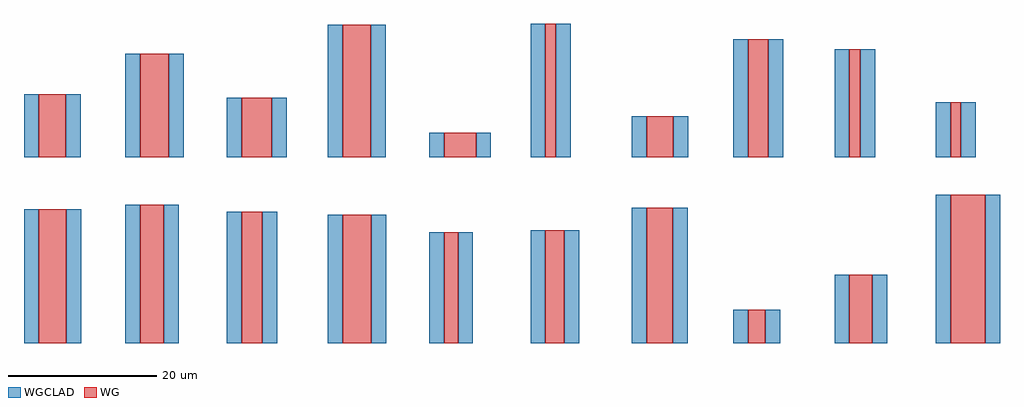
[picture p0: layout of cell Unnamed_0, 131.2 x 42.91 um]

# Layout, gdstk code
from math import pi, radians
import gdstk
lib = gdstk.Library(unit=1e-6, precision=1e-09)
def R(c, l, rs):  # rectangles x0, y0, x1, y1
    for r in rs: c.add(gdstk.rectangle(r[:2], r[2:], *l))
WG = (1, 0)
WGCLAD = (111, 0)

straight_cssym_f7fe636c_ = lib.new_cell('straight_CSsym_f7fe636c_4290_L3306')
R(straight_cssym_f7fe636c_, WG, [(0,-2.145,3.306,2.145)])
R(straight_cssym_f7fe636c_, WGCLAD, [(0,-4.145,3.306,-2.145), (0,2.145,3.306,4.145)])

c_straight_cssym_f7fe636c_ = lib.new_cell('straight_CSsym_f7fe636c_3782_L17847')
R(c_straight_cssym_f7fe636c_, WG, [(0,-1.891,17.847,1.891)])
R(c_straight_cssym_f7fe636c_, WGCLAD, [(0,-3.891,17.847,-1.891), (0,1.891,17.847,3.891)])

c_straight_cssym_f7fe636c__ = lib.new_cell('straight_CSsym_f7fe636c_3680_L17992')
R(c_straight_cssym_f7fe636c__, WG, [(0,-1.84,17.992,1.84)])
R(c_straight_cssym_f7fe636c__, WGCLAD, [(0,-3.84,17.992,-1.84), (0,1.84,17.992,3.84)])

c_straight_cssym_f7fe636c___ = lib.new_cell('straight_CSsym_f7fe636c_3188_L18605')
R(c_straight_cssym_f7fe636c___, WG, [(0,-1.594,18.605,1.594)])
R(c_straight_cssym_f7fe636c___, WGCLAD, [(0,-3.594,18.605,-1.594), (0,1.594,18.605,3.594)])

c_straight_cssym_f7fe636c____ = lib.new_cell('straight_CSsym_f7fe636c_2780_L17634')
R(c_straight_cssym_f7fe636c____, WG, [(0,-1.39,17.634,1.39)])
R(c_straight_cssym_f7fe636c____, WGCLAD, [(0,-3.39,17.634,-1.39), (0,1.39,17.634,3.39)])

c_straight_cssym_f7fe636c_____ = lib.new_cell('straight_CSsym_f7fe636c_3818_L17267')
R(c_straight_cssym_f7fe636c_____, WG, [(0,-1.909,17.267,1.909)])
R(c_straight_cssym_f7fe636c_____, WGCLAD, [(0,-3.909,17.267,-1.909), (0,1.909,17.267,3.909)])

c_straight_cssym_f7fe636c______ = lib.new_cell('straight_CSsym_f7fe636c_1872_L14891')
R(c_straight_cssym_f7fe636c______, WG, [(0,-0.936,14.891,0.936)])
R(c_straight_cssym_f7fe636c______, WGCLAD, [(0,-2.936,14.891,-0.936), (0,0.936,14.891,2.936)])

c_straight_cssym_f7fe636c_______ = lib.new_cell('straight_CSsym_f7fe636c_2520_L15147')
R(c_straight_cssym_f7fe636c_______, WG, [(0,-1.26,15.147,1.26)])
R(c_straight_cssym_f7fe636c_______, WGCLAD, [(0,-3.26,15.147,-1.26), (0,1.26,15.147,3.26)])

c_straight_cssym_f7fe636c________ = lib.new_cell('straight_CSsym_f7fe636c_1372_L17959')
R(c_straight_cssym_f7fe636c________, WG, [(0,-0.686,17.959,0.686)])
R(c_straight_cssym_f7fe636c________, WGCLAD, [(0,-2.686,17.959,-0.686), (0,0.686,17.959,2.686)])

c_straight_cssym_f7fe636c_________ = lib.new_cell('straight_CSsym_f7fe636c_3514_L18168')
R(c_straight_cssym_f7fe636c_________, WG, [(0,-1.757,18.168,1.757)])
R(c_straight_cssym_f7fe636c_________, WGCLAD, [(0,-3.757,18.168,-1.757), (0,1.757,18.168,3.757)])

c_straight_cssym_f7fe636c__________ = lib.new_cell('straight_CSsym_f7fe636c_3586_L5547')
R(c_straight_cssym_f7fe636c__________, WG, [(0,-1.793,5.547,1.793)])
R(c_straight_cssym_f7fe636c__________, WGCLAD, [(0,-3.793,5.547,-1.793), (0,1.793,5.547,3.793)])

c_straight_cssym_f7fe636c___________ = lib.new_cell('straight_CSsym_f7fe636c_2290_L4455')
R(c_straight_cssym_f7fe636c___________, WG, [(0,-1.145,4.455,1.145)])
R(c_straight_cssym_f7fe636c___________, WGCLAD, [(0,-3.145,4.455,-1.145), (0,1.145,4.455,3.145)])

c_straight_cssym_f7fe636c____________ = lib.new_cell('straight_CSsym_f7fe636c_2718_L15863')
R(c_straight_cssym_f7fe636c____________, WG, [(0,-1.359,15.863,1.359)])
R(c_straight_cssym_f7fe636c____________, WGCLAD, [(0,-3.359,15.863,-1.359), (0,1.359,15.863,3.359)])

c_straight_cssym_f7fe636c_____________ = lib.new_cell('straight_CSsym_f7fe636c_3080_L9185')
R(c_straight_cssym_f7fe636c_____________, WG, [(0,-1.54,9.185,1.54)])
R(c_straight_cssym_f7fe636c_____________, WGCLAD, [(0,-3.54,9.185,-1.54), (0,1.54,9.185,3.54)])

c_straight_cssym_f7fe636c______________ = lib.new_cell('straight_CSsym_f7fe636c_1460_L14573')
R(c_straight_cssym_f7fe636c______________, WG, [(0,-0.73,14.573,0.73)])
R(c_straight_cssym_f7fe636c______________, WGCLAD, [(0,-2.73,14.573,-0.73), (0,0.73,14.573,2.73)])

c_straight_cssym_f7fe636c_______________ = lib.new_cell('straight_CSsym_f7fe636c_4620_L19951')
R(c_straight_cssym_f7fe636c_______________, WG, [(0,-2.31,19.951,2.31)])
R(c_straight_cssym_f7fe636c_______________, WGCLAD, [(0,-4.31,19.951,-2.31), (0,2.31,19.951,4.31)])

c_straight_cssym_f7fe636c________________ = lib.new_cell('straight_CSsym_f7fe636c_1346_L7437')
R(c_straight_cssym_f7fe636c________________, WG, [(0,-0.673,7.437,0.673)])
R(c_straight_cssym_f7fe636c________________, WGCLAD, [(0,-2.673,7.437,-0.673), (0,0.673,7.437,2.673)])

c_straight_cssym_f7fe636c_________________ = lib.new_cell('straight_CSsym_f7fe636c_3602_L8532')
R(c_straight_cssym_f7fe636c_________________, WG, [(0,-1.801,8.532,1.801)])
R(c_straight_cssym_f7fe636c_________________, WGCLAD, [(0,-3.801,8.532,-1.801), (0,1.801,8.532,3.801)])

c_straight_cssym_f7fe636c__________________ = lib.new_cell('straight_CSsym_f7fe636c_3858_L13956')
R(c_straight_cssym_f7fe636c__________________, WG, [(0,-1.929,13.956,1.929)])
R(c_straight_cssym_f7fe636c__________________, WGCLAD, [(0,-3.929,13.956,-1.929), (0,1.929,13.956,3.929)])

c_straight_cssym_f7fe636c___________________ = lib.new_cell('straight_CSsym_f7fe636c_4050_L8024')
R(c_straight_cssym_f7fe636c___________________, WG, [(0,-2.025,8.024,2.025)])
R(c_straight_cssym_f7fe636c___________________, WGCLAD, [(0,-4.025,8.024,-2.025), (0,2.025,8.024,4.025)])

unnamed_0 = lib.new_cell('Unnamed_0')
unnamed_0.add(gdstk.Reference(straight_cssym_f7fe636c_, (65.435,37.427), rotation=pi/2))
unnamed_0.add(gdstk.Reference(c_straight_cssym_f7fe636c_, (51.561,37.427), rotation=pi/2))
unnamed_0.add(gdstk.Reference(c_straight_cssym_f7fe636c__, (10.65,12.476), rotation=pi/2))
unnamed_0.add(gdstk.Reference(c_straight_cssym_f7fe636c___, (24.024,12.476), rotation=pi/2))
unnamed_0.add(gdstk.Reference(c_straight_cssym_f7fe636c____, (37.44,12.476), rotation=pi/2))
unnamed_0.add(gdstk.Reference(c_straight_cssym_f7fe636c_____, (51.579,12.476), rotation=pi/2))
unnamed_0.add(gdstk.Reference(c_straight_cssym_f7fe636c______, (64.226,12.476), rotation=pi/2))
unnamed_0.add(gdstk.Reference(c_straight_cssym_f7fe636c_______, (78.17,12.476), rotation=pi/2))
unnamed_0.add(gdstk.Reference(c_straight_cssym_f7fe636c________, (77.596,37.427), rotation=pi/2))
unnamed_0.add(gdstk.Reference(c_straight_cssym_f7fe636c_________, (92.287,12.476), rotation=pi/2))
unnamed_0.add(gdstk.Reference(c_straight_cssym_f7fe636c__________, (92.323,37.427), rotation=pi/2))
unnamed_0.add(gdstk.Reference(c_straight_cssym_f7fe636c___________, (105.295,12.476), rotation=pi/2))
unnamed_0.add(gdstk.Reference(c_straight_cssym_f7fe636c____________, (105.509,37.427), rotation=pi/2))
unnamed_0.add(gdstk.Reference(c_straight_cssym_f7fe636c_____________, (119.31,12.476), rotation=pi/2))
unnamed_0.add(gdstk.Reference(c_straight_cssym_f7fe636c______________, (118.5,37.427), rotation=pi/2))
unnamed_0.add(gdstk.Reference(c_straight_cssym_f7fe636c_______________, (133.7,12.476), rotation=pi/2))
unnamed_0.add(gdstk.Reference(c_straight_cssym_f7fe636c________________, (132.063,37.427), rotation=pi/2))
unnamed_0.add(gdstk.Reference(c_straight_cssym_f7fe636c_________________, (10.611,37.427), rotation=pi/2))
unnamed_0.add(gdstk.Reference(c_straight_cssym_f7fe636c__________________, (24.359,37.427), rotation=pi/2))
unnamed_0.add(gdstk.Reference(c_straight_cssym_f7fe636c___________________, (38.075,37.427), rotation=pi/2))

lib.write_gds('Unnamed_0.gds')
